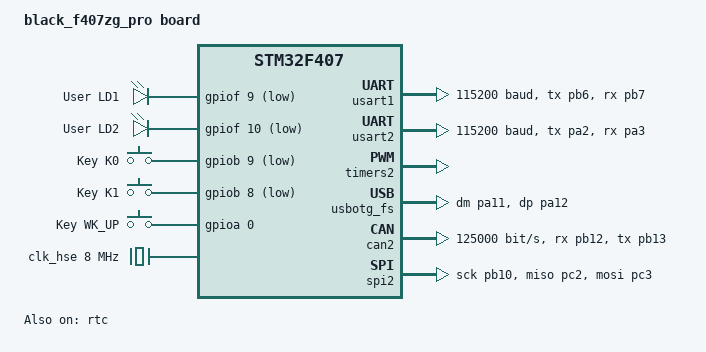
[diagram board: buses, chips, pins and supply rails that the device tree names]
/*
 * Copyright (c) 2020 Intel Corporation
 *
 * SPDX-License-Identifier: Apache-2.0
 */

/dts-v1/;
#include <st/f4/stm32f407Xg.dtsi>
#include <st/f4/stm32f407z(e-g)tx-pinctrl.dtsi>
#include <zephyr/dt-bindings/input/input-event-codes.h>

/ {
	model = "black_f407zg_pro board";
	compatible = "st,stm32f407";

	chosen {
		zephyr,console = &usart2;
		zephyr,shell-uart = &usart2;
		zephyr,sram = &sram0;
		zephyr,flash = &flash0;
		zephyr,ccm = &ccm0;
		zephyr,canbus = &can2;
	};

	leds {
		compatible = "gpio-leds";
		green_led_1: led_1 {
			gpios = <&gpiof 9 GPIO_ACTIVE_LOW>;
			label = "User LD1";
		};
		green_led_2: led_2 {
			gpios = <&gpiof 10 GPIO_ACTIVE_LOW>;
			label = "User LD2";
		};
	};

	gpio_keys {
		compatible = "gpio-keys";
		user_button_0: K0 {
			label = "Key K0";
			gpios = <&gpiob 9 GPIO_ACTIVE_LOW>;
			zephyr,code = <INPUT_KEY_0>;
		};
		user_button_1: K1 {
			label = "Key K1";
			gpios = <&gpiob 8 GPIO_ACTIVE_LOW>;
			zephyr,code = <INPUT_KEY_1>;
		};
		user_button_UP: K_UP {
			label = "Key WK_UP";
			gpios = <&gpioa 0 GPIO_ACTIVE_HIGH>;
			zephyr,code = <INPUT_KEY_UP>;
		};
	};

	aliases {
		led0 = &green_led_1;
		led1 = &green_led_2;
		sw0 = &user_button_UP;
	};
};

&clk_lsi {
	status = "okay";
};

&clk_hse {
	clock-frequency = <DT_FREQ_M(8)>;
	status = "okay";
};

&pll {
	div-m = <8>;
	mul-n = <336>;
	div-p = <2>;
	div-q = <7>;
	clocks = <&clk_hse>;
	status = "okay";
};

&rcc {
	clocks = <&pll>;
	clock-frequency = <DT_FREQ_M(168)>;
	ahb-prescaler = <1>;
	apb1-prescaler = <4>;
	apb2-prescaler = <2>;
};

&usart1 {
	pinctrl-0 = <&usart1_tx_pb6 &usart1_rx_pb7>;
	pinctrl-names = "default";
	current-speed = <115200>;
	status = "okay";
};

&usart2 {
	pinctrl-0 = <&usart2_tx_pa2 &usart2_rx_pa3>;
	pinctrl-names = "default";
	current-speed = <115200>;
	status = "okay";
};

&timers2 {
	status = "okay";

	pwm2: pwm {
		status = "okay";
		pinctrl-0 = <&tim2_ch1_pa0>;
		pinctrl-names = "default";
	};
};

&rtc {
	clocks = <&rcc STM32_CLOCK_BUS_APB1 0x10000000>,
		 <&rcc STM32_SRC_LSI RTC_SEL(2)>;
	status = "okay";
};

zephyr_udc0: &usbotg_fs {
	pinctrl-0 = <&usb_otg_fs_dm_pa11 &usb_otg_fs_dp_pa12>;
	pinctrl-names = "default";
	status = "okay";
};

&can1 {
	pinctrl-0 = <&can1_rx_pd0 &can1_tx_pd1>;
	pinctrl-names = "default";
	bus-speed = <125000>;
	status = "disabled";
};

&can2 {
	pinctrl-0 = <&can2_rx_pb12 &can2_tx_pb13>;
	pinctrl-names = "default";
	bus-speed = <125000>;
	status = "okay";
};

&spi2 {
	pinctrl-0 = <&spi2_sck_pb10 &spi2_miso_pc2 &spi2_mosi_pc3>;
	pinctrl-names = "default";
	status = "okay";
};
